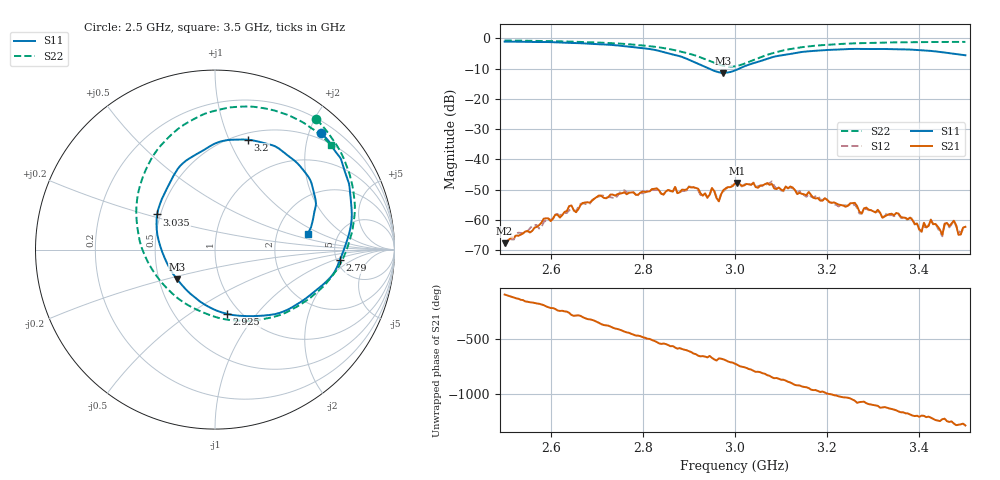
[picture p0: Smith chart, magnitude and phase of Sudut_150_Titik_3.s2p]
# Hz S RI R 50
! CMT, C1220, 16058040, 17.2.0/1
! Date: 15/08/2018 10:41:56
! Data: Format (Calibration Info)
! Freq  S11: Re/Im (F2)  S21: Re/Im (F2)  S12: Re/Im (F2)  S22: Re/Im (F2)
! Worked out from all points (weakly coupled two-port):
!   201 points, 2.5 GHz to 3.5 GHz, reference 50 ohm
!   highest |S21| = -47.78 dB at 3.005 GHz (marker M1); lowest = -67.7 dB at 2.5 GHz (marker M2)
!   lowest |S11| = -11.4 dB at 2.975 GHz (marker M3), VSWR 1.73, Z = 31 - j11 ohm
!   |S11| at or under -10 dB: 2.944 GHz to 3.01 GHz (65.73 MHz wide, 2.21 % of centre)
!   |S22| runs from -9.3 to -0.7 dB; largest |S21 - S12| = 0.00042
!   S11 on the Smith chart (normalised r, x): 2.5 GHz: 0.38, +2.21; 2.79 GHz: 5.33, -1.23; 2.925 GHz: 0.87, -0.72; 3.035 GHz: 0.48, +0.22; 3.2 GHz: 0.57, +1.18; 3.5 GHz: 3.00, +0.72
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2.5e9  0.5925 0.6506  -2.45e-05 -0.000411  4.35e-05 -0.000368  0.5641 0.7249
2.67e9  0.7504 0.3396  0.000983 0.00165  0.00106 0.00157  0.7385 0.4535
2.79e9  0.6956 -0.059  -0.000817 -0.00249  -0.000938 -0.00239  0.7647 0.1054
2.835e9  0.5811 -0.212  -0.00309 -7.58e-05  -0.003 -0.000223  0.7038 -0.0687
2.925e9  0.0673 -0.3579  0.00128 0.00246  0.00103 0.00239  0.2962 -0.3817
2.95e9  -0.0831 -0.2896  0.00222 0.00253  0.00212 0.00261  0.1025 -0.3947
2.965e9  -0.1661 -0.2178  0.00146 0.00142  0.00154 0.00144  -0.0191 -0.3683
2.975e9  -0.2118 -0.1646  0.00256 0.0018  0.00246 0.0017  -0.0964 -0.337
3e9  -0.2935 -0.015  0.004 -0.00034  0.00397 -0.00053  -0.2714 -0.2116
3.005e9  -0.3043 0.017  0.00396 -0.000989  0.0038 -0.00104  -0.3009 -0.1794
3.035e9  -0.3225 0.1958  0.00202 -0.00325  0.00205 -0.00321  -0.4192 0.0465
3.17e9  0.0853 0.6116  -0.000975 0.00211  -0.00118 0.00205  -0.0895 0.7419
3.2e9  0.1848 0.6121  0.000273 0.00213  0.000406 0.00212  0.0209 0.7787
3.335e9  0.4886 0.4467  0.000754 -0.001  0.000634 -0.00102  0.3932 0.7547
3.385e9  0.5423 0.3527  -0.000462 -0.000896  -0.000463 -0.000941  0.4885 0.7097
3.405e9  0.5546 0.3021  -0.000302 -0.000571  -0.000322 -0.000548  0.5196 0.6884
3.425e9  0.5624 0.2549  -0.00073 -0.000689  -0.000742 -0.000704  0.5497 0.6683
3.45e9  0.5522 0.2002  -0.000496 -0.000285  -0.000487 -0.000233  0.5859 0.6398
3.455e9  0.5495 0.1867  -0.000723 -0.000485  -0.000695 -0.000478  0.5924 0.6348
3.475e9  0.5387 0.1359  -0.000959 0.000178  -0.000958 0.000124  0.6163 0.6125
3.485e9  0.5306 0.1151  -0.000532 0.00021  -0.000627 0.000249  0.6284 0.6
3.5e9  0.5156 0.0875  -0.000684 0.000361  -0.000592 0.000437  0.6454 0.583
